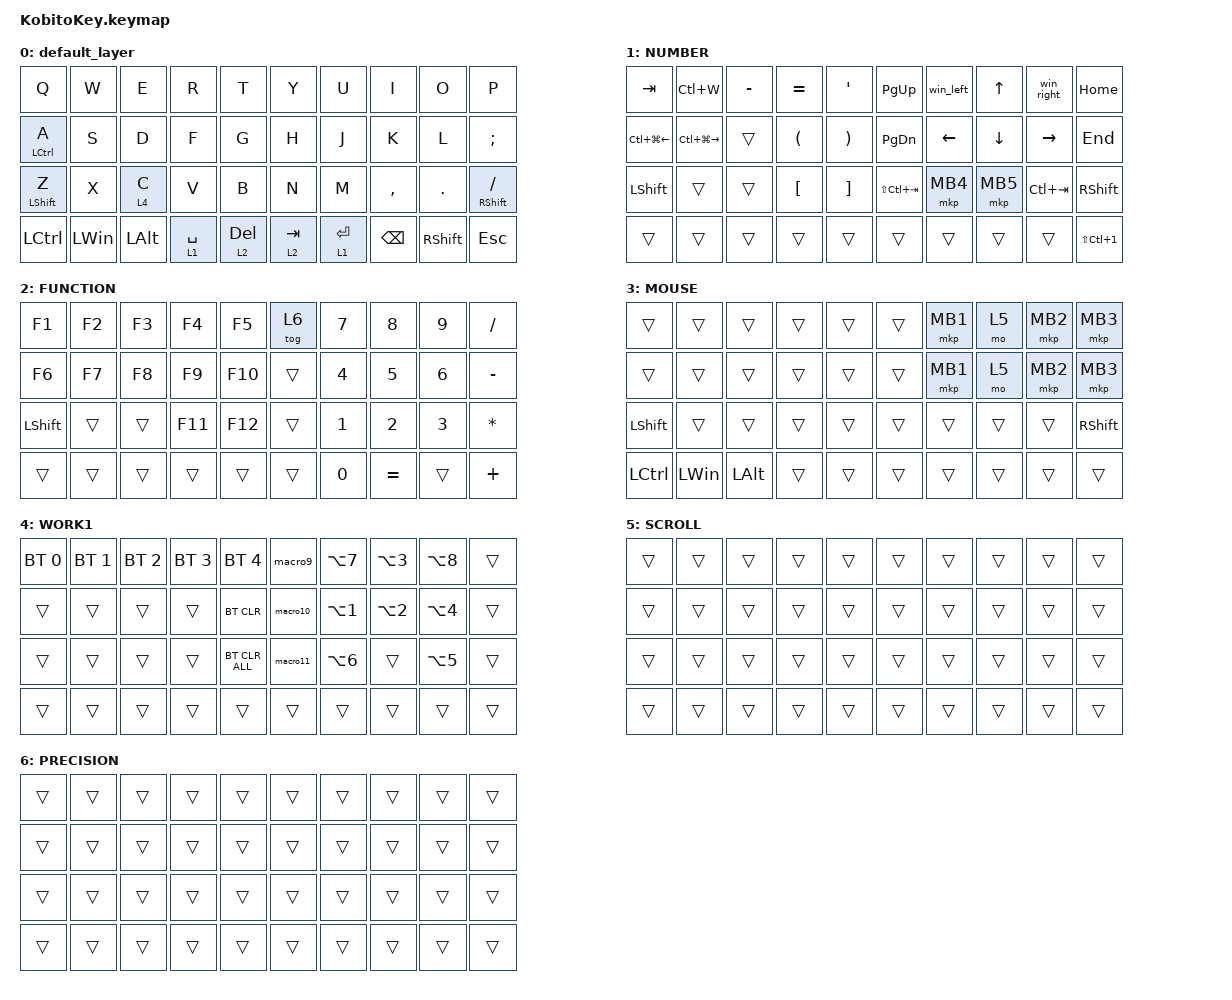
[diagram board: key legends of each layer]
#include <input/processors.dtsi>
#include <behaviors.dtsi>
#include <dt-bindings/zmk/bt.h>
#include <dt-bindings/zmk/keys.h>
#include <dt-bindings/zmk/pointing.h>

/ {
    combos {
        compatible = "zmk,combos";

        combo_eisu {
            timeout-ms = <50>;
            key-positions = <12 13>;
            bindings = <&kp LANG2>;
        };

        combo_kana {
            timeout-ms = <50>;
            key-positions = <16 17>;
            bindings = <&kp LANG1>;
        };

        combo_esc {
            timeout-ms = <50>;
            key-positions = <0 1>;
            bindings = <&kp ESC>;
        };
    };

    macros {
        macro9: macro9 {
            compatible = "zmk,behavior-macro";
            #binding-cells = <0>;
            wait-ms = <30>;
            tap-ms = <30>;
            bindings = <&kp LALT &kp N9 &kp Y &kp N1>;
        };

        macro10: macro10 {
            compatible = "zmk,behavior-macro";
            #binding-cells = <0>;
            wait-ms = <30>;
            tap-ms = <30>;
            bindings = <&kp LALT &kp N9 &kp Y &kp N2>;
        };

        macro11: macro11 {
            compatible = "zmk,behavior-macro";
            #binding-cells = <0>;
            wait-ms = <30>;
            tap-ms = <30>;
            bindings = <&kp LALT &kp N9 &kp Y &kp N3>;
        };

        // Win+矢印スナップ。GUIの単独離しでスタートメニューが開くのを防ぐため、
        // 待ち時間を挟んで矢印を確実にGUI押下中へ入れる。

        win_left: win_left {
            compatible = "zmk,behavior-macro";
            #binding-cells = <0>;
            wait-ms = <15>;
            tap-ms = <15>;
            bindings =
                <&macro_press>,
                <&kp LGUI>,
                <&macro_tap>,
                <&kp LEFT>,
                <&macro_release>,
                <&kp LGUI>;
        };

        win_right: win_right {
            compatible = "zmk,behavior-macro";
            #binding-cells = <0>;
            wait-ms = <15>;
            tap-ms = <15>;
            bindings =
                <&macro_press>,
                <&kp LGUI>,
                <&macro_tap>,
                <&kp RIGHT>,
                <&macro_release>,
                <&kp LGUI>;
        };
    };

    behaviors {
        // A=Ctrl 等のホームロウmod専用。誤ホールド対策を強めにする。

        hrm: home_row_mod {
            compatible = "zmk,behavior-hold-tap";
            #binding-cells = <2>;
            flavor = "balanced";
            tapping-term-ms = <220>;
            quick-tap-ms = <175>;
            require-prior-idle-ms = <125>;  // 直前125ms内に別キー→必ずtap(誤爆防止)
            bindings = <&kp>, <&kp>;
        };
    };

    keymap {
        compatible = "zmk,keymap";

        default_layer {
            bindings = <
&kp Q              &kp W         &kp E         &kp R        &kp T      &kp Y      &kp U        &kp I          &kp O      &kp P
&hrm LCTRL A       &kp S         &kp D         &kp F        &kp G      &kp H      &kp J        &kp K          &kp L      &kp SEMI
&hrm LEFT_SHIFT Z  &kp X         &lt 4 C       &kp V        &kp B      &kp N      &kp M        &kp COMMA      &kp DOT    &mt RIGHT_SHIFT SLASH
&kp LCTRL          &kp LEFT_WIN  &kp LEFT_ALT  &lt 1 SPACE  &lt 2 DEL  &lt 2 TAB  &lt 1 ENTER  &kp BACKSPACE  &kp RSHFT  &kp ESC
            >;
        };

        layer1 {
            label = "NUMBER";
            bindings = <
&kp TAB           &kp LC(W)          &kp MINUS  &kp EQUAL             &kp SQT                &kp PAGE_UP      &win_left  &kp UP    &win_right   &kp HOME
&kp LC(LG(LEFT))  &kp LC(LG(RIGHT))  &trans     &kp LEFT_PARENTHESIS  &kp RIGHT_PARENTHESIS  &kp PAGE_DOWN    &kp LEFT   &kp DOWN  &kp RIGHT    &kp END
&kp LEFT_SHIFT    &trans             &trans     &kp LEFT_BRACKET      &kp RIGHT_BRACKET      &kp LS(LC(TAB))  &mkp MB4   &mkp MB5  &kp LC(TAB)  &kp RIGHT_SHIFT
&trans            &trans             &trans     &trans                &trans                 &trans           &trans     &trans    &trans       &kp LS(LC(NUMBER_1))
            >;
        };

        layer2 {
            label = "FUNCTION";
            bindings = <
&kp F1          &kp F2  &kp F3  &kp F4   &kp F5   &tog 6  &kp NUMBER_7  &kp NUMBER_8  &kp NUMBER_9  &kp SLASH
&kp F6          &kp F7  &kp F8  &kp F9   &kp F10  &trans  &kp NUMBER_4  &kp NUMBER_5  &kp NUMBER_6  &kp MINUS
&kp LEFT_SHIFT  &trans  &trans  &kp F11  &kp F12  &trans  &kp NUMBER_1  &kp NUMBER_2  &kp NUMBER_3  &kp ASTERISK
&trans          &trans  &trans  &trans   &trans   &trans  &kp NUMBER_0  &kp EQUAL     &trans        &kp PLUS
            >;
        };

        layer3 {
            label = "MOUSE";
            bindings = <
&trans          &trans        &trans        &trans  &trans  &trans  &mkp MB1  &mo 5   &mkp MB2  &mkp MB3
&trans          &trans        &trans        &trans  &trans  &trans  &mkp MB1  &mo 5   &mkp MB2  &mkp MB3
&kp LEFT_SHIFT  &trans        &trans        &trans  &trans  &trans  &trans    &trans  &trans    &kp RIGHT_SHIFT
&kp LCTRL       &kp LEFT_WIN  &kp LEFT_ALT  &trans  &trans  &trans  &trans    &trans  &trans    &trans
            >;
        };

        layer4 {
            label = "WORK1";
            bindings = <
&bt BT_SEL 0  &bt BT_SEL 1  &bt BT_SEL 2  &bt BT_SEL 3  &bt BT_SEL 4    &macro9   &kp LA(N7)  &kp LA(N3)  &kp LA(N8)  &trans
&trans        &trans        &trans        &trans        &bt BT_CLR      &macro10  &kp LA(N1)  &kp LA(N2)  &kp LA(N4)  &trans
&trans        &trans        &trans        &trans        &bt BT_CLR_ALL  &macro11  &kp LA(N6)  &trans      &kp LA(N5)  &trans
&trans        &trans        &trans        &trans        &trans          &trans    &trans      &trans      &trans      &trans
            >;
        };

        scroll_layer {
            label = "SCROLL";
            bindings = <
&trans  &trans  &trans  &trans  &trans  &trans  &trans  &trans  &trans  &trans
&trans  &trans  &trans  &trans  &trans  &trans  &trans  &trans  &trans  &trans
&trans  &trans  &trans  &trans  &trans  &trans  &trans  &trans  &trans  &trans
&trans  &trans  &trans  &trans  &trans  &trans  &trans  &trans  &trans  &trans
            >;
        };

        // 右トラボ低速(精密)モード。全キーtransで通常入力に影響なし。
        // このレイヤーがONの間、右リスナー側でzip_xy_scalerが効く。

        precision_layer {
            label = "PRECISION";
            bindings = <
&trans  &trans  &trans  &trans  &trans  &trans  &trans  &trans  &trans  &trans
&trans  &trans  &trans  &trans  &trans  &trans  &trans  &trans  &trans  &trans
&trans  &trans  &trans  &trans  &trans  &trans  &trans  &trans  &trans  &trans
&trans  &trans  &trans  &trans  &trans  &trans  &trans  &trans  &trans  &trans
            >;
        };
    };
};

// レイヤー入口(Space/Enter/Del/Tab長押し)は軽快に

&lt {
    tapping-term-ms = <180>;
    quick-tap-ms = <175>;
};

// Shift系mod-tap(SLASH)の判定。ZはAと同じhrmへ移行したためここはSLASHのみ担当。
// flavor未指定=hold-preferredだと「ロール入力で即Shift判定され
// 大文字になってしまうため、balancedに変更（離す順番でtap/hold判定）。

&mt {
    flavor = "balanced";
    tapping-term-ms = <200>;
    quick-tap-ms = <175>;
    require-prior-idle-ms = <125>;  // 直前125ms内に別キー→必ずtap(誤爆防止)
};
